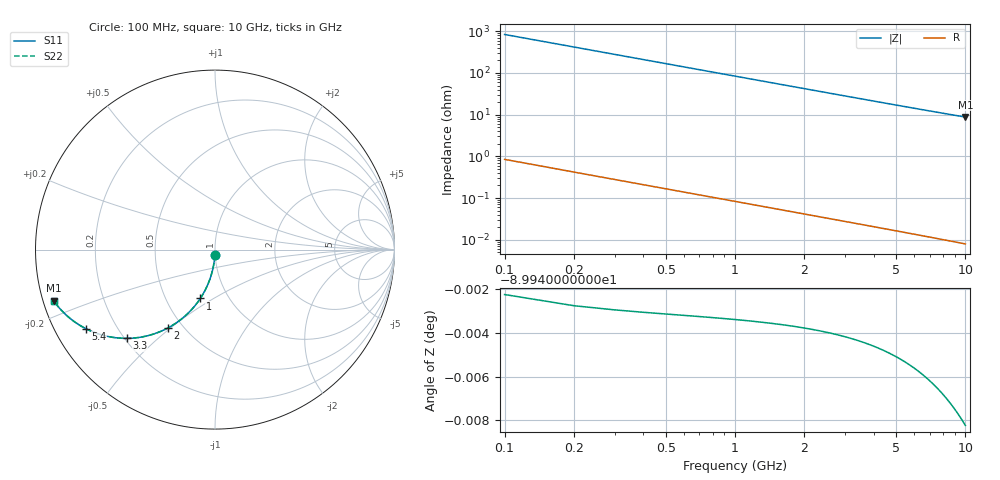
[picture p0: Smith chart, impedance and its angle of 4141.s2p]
# Hz S RI R 50.00
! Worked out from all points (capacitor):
!   100 points, 100 MHz to 10 GHz, reference 50 ohm
!   read as one part in shunt: C = 1.9 pF near 100 MHz
!   lowest |Z| = 8.75 ohm at 10 GHz (marker M1)
!   S11 on the Smith chart (normalised r, x): 100 MHz: 1.00, -0.06; 1 GHz: 0.74, -0.44; 2 GHz: 0.42, -0.49; 3.3 GHz: 0.21, -0.40; 5.4 GHz: 0.09, -0.28; 10 GHz: 0.03, -0.15
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1e8  -0.000891 -0.0296  0.9991 -0.0299  0.9991 -0.0299  -0.000891 -0.0296
2e8  -0.00357 -0.0591  0.9964 -0.0597  0.9964 -0.0597  -0.00357 -0.0591
3e8  -0.00799 -0.0882  0.992 -0.0891  0.992 -0.0891  -0.00799 -0.0882
4e8  -0.0141 -0.1169  0.9859 -0.1181  0.9859 -0.1181  -0.0141 -0.1169
5e8  -0.0218 -0.145  0.9781 -0.1464  0.9781 -0.1464  -0.0218 -0.145
6e8  -0.0311 -0.1723  0.9688 -0.174  0.9688 -0.174  -0.0311 -0.1723
7e8  -0.0418 -0.1987  0.9581 -0.2008  0.9581 -0.2008  -0.0418 -0.1987
8e8  -0.0539 -0.2242  0.946 -0.2266  0.946 -0.2266  -0.0539 -0.2242
1e9  -0.0817 -0.272  0.9183 -0.2749  0.9183 -0.2749  -0.0817 -0.272
1.2e9  -0.1134 -0.3149  0.8865 -0.3184  0.8865 -0.3184  -0.1134 -0.3149
1.4e9  -0.1482 -0.3528  0.8517 -0.3569  0.8517 -0.3569  -0.1482 -0.3528
1.8e9  -0.2232 -0.4133  0.7767 -0.4186  0.7767 -0.4186  -0.2232 -0.4133
2e9  -0.2617 -0.4362  0.7382 -0.4421  0.7382 -0.4421  -0.2617 -0.4362
2.6e9  -0.3743 -0.4796  0.6256 -0.4873  0.6256 -0.4873  -0.3743 -0.4796
3.3e9  -0.4905 -0.4945  0.5094 -0.5043  0.5094 -0.5043  -0.4905 -0.4945
3.4e9  -0.5053 -0.4944  0.4946 -0.5045  0.4946 -0.5045  -0.5053 -0.4944
4.2e9  -0.609 -0.4812  0.3909 -0.4938  0.3909 -0.4938  -0.609 -0.4812
5.1e9  -0.6965 -0.4516  0.3033 -0.4669  0.3033 -0.4669  -0.6965 -0.4516
5.4e9  -0.7201 -0.4403  0.2797 -0.4566  0.2797 -0.4566  -0.7201 -0.4403
6.7e9  -0.7985 -0.3903  0.2013 -0.4107  0.2013 -0.4107  -0.7985 -0.3903
8.4e9  -0.8619 -0.3313  0.1377 -0.3572  0.1377 -0.3572  -0.8619 -0.3313
1e10  -0.8988 -0.2852  0.1007 -0.3163  0.1007 -0.3163  -0.8988 -0.2852
